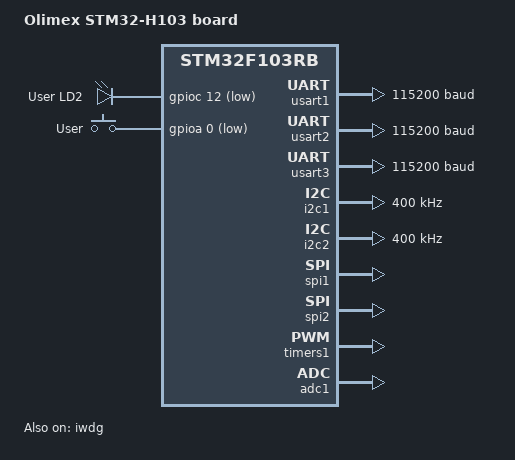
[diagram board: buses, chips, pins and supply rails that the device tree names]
/*
 * SPDX-License-Identifier: Apache-2.0
 * Copyright (c) 2020, Josep Puigdemont
 */

/dts-v1/;
#include <st/f1/stm32f103Xb.dtsi>

/ {
	model = "Olimex STM32-H103 board";
	compatible = "olimex,stm32-h103", "st,stm32f103rb";

	chosen {
		zephyr,console = &usart2;
		zephyr,shell-uart = &usart2;
		zephyr,sram = &sram0;
		zephyr,flash = &flash0;
	};

	leds {
		compatible = "gpio-leds";
		green_led_2: led_2 {
			gpios = <&gpioc 12 GPIO_ACTIVE_LOW>;
			label = "User LD2";
		};
	};

	gpio_keys {
		compatible = "gpio-keys";
		user_button: button {
			label = "User";
			gpios = <&gpioa 0 GPIO_ACTIVE_LOW>;
		};
	};

	aliases {
		led0 = &green_led_2;
		sw0 = &user_button;
	};
};

&usart1 {
	current-speed = <115200>;
	status = "okay";
};

&usart2 {
	current-speed = <115200>;
	status = "okay";
};

&usart3 {
	current-speed = <115200>;
};

&i2c1 {
	status = "okay";
	clock-frequency = <I2C_BITRATE_FAST>;
};

&i2c2 {
	status = "okay";
	clock-frequency = <I2C_BITRATE_FAST>;
};

&spi1 {
	status = "okay";
};

&spi2 {
	status = "okay";
};

&timers1 {
	status = "okay";

	pwm1: pwm {
		status = "okay";
	};
};

&iwdg {
	status = "okay";
};

&adc1 {
	status = "okay";
};

&usb {
	disconnect-gpios = <&gpioc 11 GPIO_ACTIVE_LOW>;
};
